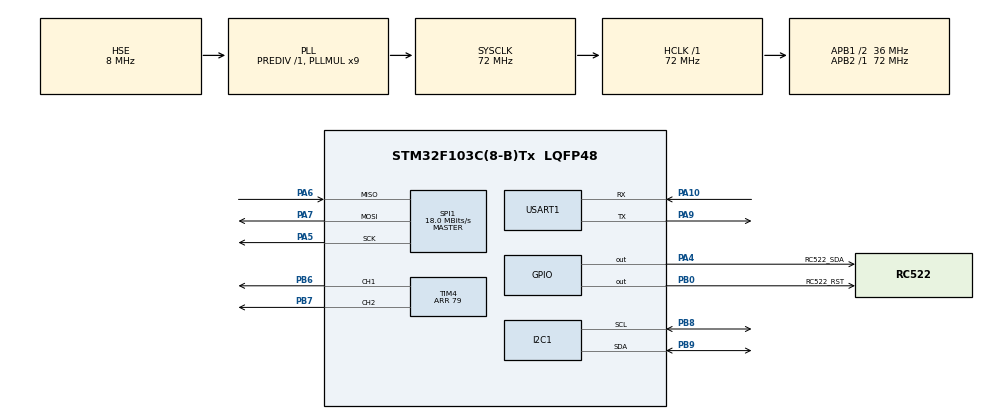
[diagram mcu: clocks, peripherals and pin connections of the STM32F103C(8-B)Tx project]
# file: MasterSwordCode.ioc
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Dma.Request0=TIM4_CH1
Dma.Request1=TIM4_CH2
Dma.TIM4_CH1.0.Direction=DMA_MEMORY_TO_PERIPH
Dma.TIM4_CH1.0.Instance=DMA1_Channel1
Dma.TIM4_CH1.0.MemDataAlignment=DMA_MDATAALIGN_HALFWORD
Dma.TIM4_CH1.0.MemInc=DMA_MINC_ENABLE
Dma.TIM4_CH1.0.Mode=DMA_CIRCULAR
Dma.TIM4_CH1.0.PeriphDataAlignment=DMA_PDATAALIGN_HALFWORD
Dma.TIM4_CH1.0.PeriphInc=DMA_PINC_DISABLE
Dma.TIM4_CH1.0.Priority=DMA_PRIORITY_HIGH
Dma.TIM4_CH2.1.Direction=DMA_MEMORY_TO_PERIPH
Dma.TIM4_CH2.1.Instance=DMA1_Channel4
Dma.TIM4_CH2.1.MemDataAlignment=DMA_MDATAALIGN_HALFWORD
Dma.TIM4_CH2.1.MemInc=DMA_MINC_ENABLE
Dma.TIM4_CH2.1.Mode=DMA_CIRCULAR
Dma.TIM4_CH2.1.PeriphDataAlignment=DMA_PDATAALIGN_HALFWORD
Dma.TIM4_CH2.1.PeriphInc=DMA_PINC_DISABLE
Dma.TIM4_CH2.1.Priority=DMA_PRIORITY_HIGH
FREERTOS.Tasks01=defaultTask,-2,128,StartDefaultTask,Default,NULL,Dynamic,NULL,NULL;SideLight,0,128,StartSideLight,Default,NULL,Dynamic,NULL,NULL;Gravity,0,128,StartGravity,Default,NULL,Dynamic,NULL,NULL;SwipingCard,0,128,StartSwipingCard,Default,NULL,Dynamic,NULL,NULL
Mcu.Family=STM32F1
Mcu.Name=STM32F103C(8-B)Tx
Mcu.Package=LQFP48
NVIC.DMA1_Channel1_IRQn=true\:5\:0\:false\:false\:true\:true\:false\:true\:true
NVIC.DMA1_Channel4_IRQn=true\:5\:0\:false\:false\:true\:true\:false\:true\:true
NVIC.PriorityGroup=NVIC_PRIORITYGROUP_4
NVIC.TIM1_UP_IRQn=true\:15\:0\:false\:false\:true\:false\:false\:true\:true
NVIC.TimeBase=TIM1_UP_IRQn
NVIC.TimeBaseIP=TIM1
PA10.Mode=Asynchronous
PA10.Signal=USART1_RX
PA13.Mode=Serial_Wire
PA13.Signal=SYS_JTMS-SWDIO
PA14.Mode=Serial_Wire
PA14.Signal=SYS_JTCK-SWCLK
PA4.GPIO_Label=RC522_SDA
PA4.GPIO_PuPd=GPIO_PULLUP
PA4.GPIO_Speed=GPIO_SPEED_FREQ_HIGH
PA4.Signal=GPIO_Output
PA5.Mode=Full_Duplex_Master
PA5.Signal=SPI1_SCK
PA6.Mode=Full_Duplex_Master
PA6.Signal=SPI1_MISO
PA7.Mode=Full_Duplex_Master
PA7.Signal=SPI1_MOSI
PA9.Mode=Asynchronous
PA9.Signal=USART1_TX
PB0.GPIO_Label=RC522_RST
PB0.GPIO_PuPd=GPIO_PULLUP
PB0.GPIO_Speed=GPIO_SPEED_FREQ_HIGH
PB0.Signal=GPIO_Output
PB6.Signal=S_TIM4_CH1
PB7.Signal=S_TIM4_CH2
PB8.Mode=I2C
PB8.Signal=I2C1_SCL
PB9.Mode=I2C
PB9.Signal=I2C1_SDA
PC14-OSC32_IN.Mode=LSE-External-Oscillator
PC14-OSC32_IN.Signal=RCC_OSC32_IN
PC15-OSC32_OUT.Mode=LSE-External-Oscillator
PC15-OSC32_OUT.Signal=RCC_OSC32_OUT
PD0-OSC_IN.Mode=HSE-External-Oscillator
PD0-OSC_IN.Signal=RCC_OSC_IN
PD1-OSC_OUT.Mode=HSE-External-Oscillator
PD1-OSC_OUT.Signal=RCC_OSC_OUT
ProjectManager.HeapSize=0x200
ProjectManager.StackSize=0x400
ProjectManager.TargetToolchain=MDK-ARM V5.32
RCC.AHBFreq_Value=72000000
RCC.APB1CLKDivider=RCC_HCLK_DIV2
RCC.APB1Freq_Value=36000000
RCC.APB1TimFreq_Value=72000000
RCC.APB2Freq_Value=72000000
RCC.APB2TimFreq_Value=72000000
RCC.HCLKFreq_Value=72000000
RCC.PLLMUL=RCC_PLL_MUL9
RCC.PLLSourceVirtual=RCC_PLLSOURCE_HSE
RCC.SYSCLKFreq_VALUE=72000000
RCC.SYSCLKSource=RCC_SYSCLKSOURCE_PLLCLK
RCC.USBFreq_Value=72000000
SH.S_TIM4_CH1.0=TIM4_CH1,PWM Generation1 CH1
SH.S_TIM4_CH2.0=TIM4_CH2,PWM Generation2 CH2
SPI1.BaudRatePrescaler=SPI_BAUDRATEPRESCALER_4
SPI1.CalculateBaudRate=18.0 MBits/s
SPI1.Direction=SPI_DIRECTION_2LINES
SPI1.Mode=SPI_MODE_MASTER
SPI1.VirtualType=VM_MASTER
TIM4.Channel-PWM\ Generation1\ CH1=TIM_CHANNEL_1
TIM4.Channel-PWM\ Generation2\ CH2=TIM_CHANNEL_2
TIM4.Period=79
USART1.VirtualMode=VM_ASYNC
VP_FREERTOS_VS_CMSIS_V1.Mode=CMSIS_V1
VP_SYS_VS_tim1.Mode=TIM1
board=custom

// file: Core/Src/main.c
/* USER CODE BEGIN Header */
/**
  ******************************************************************************
  * @file           : main.c
  * @brief          : Main program body
  ******************************************************************************
  * @attention
  *
  * Copyright (c) 2024 STMicroelectronics.
  * All rights reserved.
  *
  * This software is licensed under terms that can be found in the LICENSE file
  * in the root directory of this software component.
  * If no LICENSE file comes with this software, it is provided AS-IS.
  *
  ******************************************************************************
  */
/* USER CODE END Header */
#include "main.h"
#include "cmsis_os.h"
#include "dma.h"
#include "i2c.h"
#include "spi.h"
#include "tim.h"
#include "usart.h"
#include "gpio.h"

/* USER CODE BEGIN Includes */
#include "rc522.h"
#include "mpu6050.h"
/* USER CODE END Includes */

void SystemClock_Config(void);
void MX_FREERTOS_Init(void);

int main(void)
{

  /* MCU Configuration--------------------------------------------------------*/

  /* Reset of all peripherals, Initializes the Flash interface and the Systick. */
  HAL_Init();

  /* Configure the system clock */
  SystemClock_Config();

  /* Initialize all configured peripherals */
  MX_GPIO_Init();
  MX_DMA_Init();
  MX_I2C1_Init();
  MX_SPI1_Init();
  MX_TIM4_Init();
  MX_USART1_UART_Init();
  /* USER CODE BEGIN 2 */

	printf("---------start!---------\n");

	HAL_Delay(100);

	MFRC522_Init();
	printf("---------MFRC522_Init ok---------\n");
	HAL_Delay(100);

	while (MPU6050_Init(&hi2c1) == 1);
	printf("---------MPU6050_Init ok---------\n");

  /* USER CODE END 2 */

  /* Call init function for freertos objects (in freertos.c) */
  MX_FREERTOS_Init();

  /* Start scheduler */
  osKernelStart();

  /* We should never get here as control is now taken by the scheduler */
  /* Infinite loop */
  while (1)
  {

  }
}

void SystemClock_Config(void)
{
  RCC_OscInitTypeDef RCC_OscInitStruct = {0};
  RCC_ClkInitTypeDef RCC_ClkInitStruct = {0};

  /** Initializes the RCC Oscillators according to the specified parameters
  * in the RCC_OscInitTypeDef structure.
  */
  RCC_OscInitStruct.OscillatorType = RCC_OSCILLATORTYPE_HSE;
  RCC_OscInitStruct.HSEState = RCC_HSE_ON;
  RCC_OscInitStruct.HSEPredivValue = RCC_HSE_PREDIV_DIV1;
  RCC_OscInitStruct.HSIState = RCC_HSI_ON;
  RCC_OscInitStruct.PLL.PLLState = RCC_PLL_ON;
  RCC_OscInitStruct.PLL.PLLSource = RCC_PLLSOURCE_HSE;
  RCC_OscInitStruct.PLL.PLLMUL = RCC_PLL_MUL9;
  if (HAL_RCC_OscConfig(&RCC_OscInitStruct) != HAL_OK)
  {
    Error_Handler();
  }

  /** Initializes the CPU, AHB and APB buses clocks
  */
  RCC_ClkInitStruct.ClockType = RCC_CLOCKTYPE_HCLK|RCC_CLOCKTYPE_SYSCLK
                              |RCC_CLOCKTYPE_PCLK1|RCC_CLOCKTYPE_PCLK2;
  RCC_ClkInitStruct.SYSCLKSource = RCC_SYSCLKSOURCE_PLLCLK;
  RCC_ClkInitStruct.AHBCLKDivider = RCC_SYSCLK_DIV1;
  RCC_ClkInitStruct.APB1CLKDivider = RCC_HCLK_DIV2;
  RCC_ClkInitStruct.APB2CLKDivider = RCC_HCLK_DIV1;

  if (HAL_RCC_ClockConfig(&RCC_ClkInitStruct, FLASH_LATENCY_2) != HAL_OK)
  {
    Error_Handler();
  }
}

void HAL_TIM_PeriodElapsedCallback(TIM_HandleTypeDef *htim)
{
  if (htim->Instance == TIM1) {
    HAL_IncTick();
  }
}

void Error_Handler(void)
{
  __disable_irq();
  while (1)
  {
  }
}

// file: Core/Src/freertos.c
/* USER CODE BEGIN Header */
/**
 ******************************************************************************
 * File Name          : freertos.c
 * Description        : Code for freertos applications
 ******************************************************************************
 * @attention
 *
 * Copyright (c) 2024 STMicroelectronics.
 * All rights reserved.
 *
 * This software is licensed under terms that can be found in the LICENSE file
 * in the root directory of this software component.
 * If no LICENSE file comes with this software, it is provided AS-IS.
 *
 ******************************************************************************
 */
/* USER CODE END Header */

#include "FreeRTOS.h"
#include "task.h"
#include "main.h"
#include "cmsis_os.h"

/* USER CODE BEGIN Includes */
#include <stdio.h>
#include "rc522_use.h"
#include "ws2812.h"
#include "mpu6050.h"
/* USER CODE END Includes */

/* USER CODE BEGIN PD */
MPU6050_t MPU6050;
/* USER CODE END PD */

osThreadId defaultTaskHandle;
osThreadId SideLightHandle;
osThreadId GravityHandle;
osThreadId SwipingCardHandle;

void StartDefaultTask(void const *argument);
void StartSideLight(void const *argument);
void StartGravity(void const *argument);
void StartSwipingCard(void const *argument);

void MX_FREERTOS_Init(void); /* (MISRA C 2004 rule 8.1) */

/* GetIdleTaskMemory prototype (linked to static allocation support) */
void vApplicationGetIdleTaskMemory(StaticTask_t **ppxIdleTaskTCBBuffer, StackType_t **ppxIdleTaskStackBuffer, uint32_t *pulIdleTaskStackSize);

/* USER CODE BEGIN GET_IDLE_TASK_MEMORY */
static StaticTask_t xIdleTaskTCBBuffer;
static StackType_t xIdleStack[configMINIMAL_STACK_SIZE];

void vApplicationGetIdleTaskMemory(StaticTask_t **ppxIdleTaskTCBBuffer, StackType_t **ppxIdleTaskStackBuffer, uint32_t *pulIdleTaskStackSize)
{
  *ppxIdleTaskTCBBuffer = &xIdleTaskTCBBuffer;
  *ppxIdleTaskStackBuffer = &xIdleStack[0];
  *pulIdleTaskStackSize = configMINIMAL_STACK_SIZE;
  /* place for user code */
}
/* USER CODE END GET_IDLE_TASK_MEMORY */

void MX_FREERTOS_Init(void)
{
  /* USER CODE BEGIN Init */
  MFRC522_Init();
  /* USER CODE END Init */

  /* Create the thread(s) */
  /* definition and creation of defaultTask */
  osThreadDef(defaultTask, StartDefaultTask, osPriorityLow, 0, 128);
  defaultTaskHandle = osThreadCreate(osThread(defaultTask), NULL);

  /* definition and creation of SideLight */
  osThreadDef(SideLight, StartSideLight, osPriorityNormal, 0, 128);
  SideLightHandle = osThreadCreate(osThread(SideLight), NULL);

  /* definition and creation of Gravity */
  osThreadDef(Gravity, StartGravity, osPriorityNormal, 0, 128);
  GravityHandle = osThreadCreate(osThread(Gravity), NULL);

  /* definition and creation of SwipingCard */
  osThreadDef(SwipingCard, StartSwipingCard, osPriorityNormal, 0, 128);
  SwipingCardHandle = osThreadCreate(osThread(SwipingCard), NULL);

}

void StartDefaultTask(void const *argument)
{
  for (;;)
  {
    osDelay(1);
  }
}

void StartSideLight(void const *argument)
{
  /* USER CODE BEGIN StartSideLight */
  /* Infinite loop */
  for (;;)
  {
    osDelay(1);
    rainbowCycle(20);
  }
  /* USER CODE END StartSideLight */
}

void StartGravity(void const *argument)
{
  /* USER CODE BEGIN StartGravity */
  /* Infinite loop */
  for (;;)
  {
    MPU6050_Read_All(&hi2c1, &MPU6050);
    WS_CloseAll();
    printf("x:%f -- y:%f\n", MPU6050.Ax, MPU6050.Ay);
    double g_count = MPU6050.Gx + MPU6050.Gy + MPU6050.Gz;
    uint16_t count = (uint16_t)g_count;
    count = count > 20 ? 20 : count;
    for (int i = 0; i < count; i++)
    {
      WS2812_SetPixelColor(i, 0x0000ff);
    }
    osDelay(100);
  }
  /* USER CODE END StartGravity */
}

void StartSwipingCard(void const *argument)
{
  /* USER CODE BEGIN StartSwipingCard */
  /* Infinite loop */
  for (;;)
  {
    rc522_test();
    osDelay(1);
  }
  /* USER CODE END StartSwipingCard */
}
